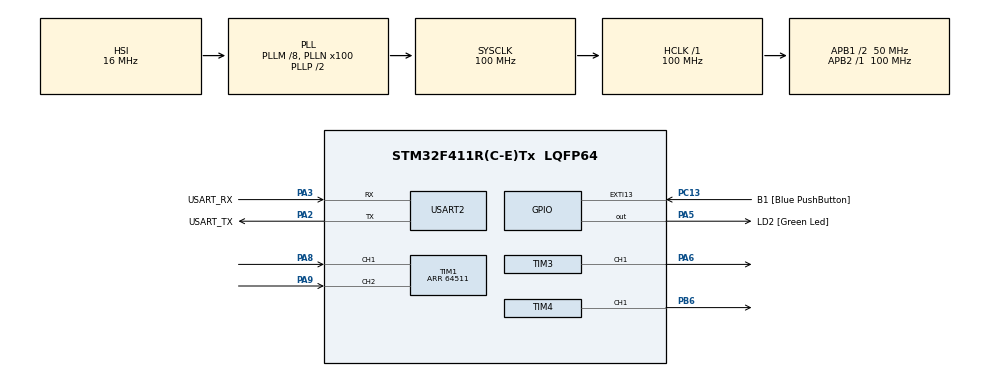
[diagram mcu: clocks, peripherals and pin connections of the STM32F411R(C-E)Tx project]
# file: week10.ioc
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Mcu.Family=STM32F4
Mcu.Name=STM32F411R(C-E)Tx
Mcu.Package=LQFP64
NVIC.PriorityGroup=NVIC_PRIORITYGROUP_0
PA13.GPIO_Label=TMS
PA13.Mode=Serial_Wire
PA13.Signal=SYS_JTMS-SWDIO
PA14.GPIO_Label=TCK
PA14.Mode=Serial_Wire
PA14.Signal=SYS_JTCK-SWCLK
PA2.GPIO_Label=USART_TX
PA2.Mode=Asynchronous
PA2.Signal=USART2_TX
PA3.GPIO_Label=USART_RX
PA3.Mode=Asynchronous
PA3.Signal=USART2_RX
PA5.GPIO_Label=LD2 [Green Led]
PA5.Signal=GPIO_Output
PA6.Signal=S_TIM3_CH1
PA8.Signal=S_TIM1_CH1
PA9.Signal=S_TIM1_CH2
PB3.GPIO_Label=SWO
PB3.Signal=SYS_JTDO-SWO
PB6.Signal=S_TIM4_CH1
PC13-ANTI_TAMP.GPIO_Label=B1 [Blue PushButton]
PC13-ANTI_TAMP.GPIO_ModeDefaultEXTI=GPIO_MODE_IT_FALLING
PC13-ANTI_TAMP.Signal=GPXTI13
PC14-OSC32_IN.Mode=LSE-External-Oscillator
PC14-OSC32_IN.Signal=RCC_OSC32_IN
PC15-OSC32_OUT.Mode=LSE-External-Oscillator
PC15-OSC32_OUT.Signal=RCC_OSC32_OUT
PH0\ -\ OSC_IN.Mode=HSE-External-Clock-Source
PH0\ -\ OSC_IN.Signal=RCC_OSC_IN
PH1\ -\ OSC_OUT.Mode=HSE-External-Clock-Source
PH1\ -\ OSC_OUT.Signal=RCC_OSC_OUT
ProjectManager.HeapSize=0x200
ProjectManager.StackSize=0x400
ProjectManager.TargetToolchain=STM32CubeIDE
RCC.48MHZClocksFreq_Value=50000000
RCC.AHBFreq_Value=100000000
RCC.APB1CLKDivider=RCC_HCLK_DIV2
RCC.APB1Freq_Value=50000000
RCC.APB1TimFreq_Value=100000000
RCC.APB2Freq_Value=100000000
RCC.APB2TimFreq_Value=100000000
RCC.CortexFreq_Value=100000000
RCC.FLatency-AdvancedSettings=FLASH_LATENCY_3
RCC.HCLKFreq_Value=100000000
RCC.HSE_VALUE=8000000
RCC.HSI_VALUE=16000000
RCC.PLLM=8
RCC.PLLN=100
RCC.SYSCLKFreq_VALUE=100000000
RCC.SYSCLKSource=RCC_SYSCLKSOURCE_PLLCLK
RCC.VCOOutputFreq_Value=200000000
SH.S_TIM1_CH1.0=TIM1_CH1,Encoder_Interface
SH.S_TIM1_CH2.0=TIM1_CH2,Encoder_Interface
SH.S_TIM3_CH1.0=TIM3_CH1,PWM Generation1 CH1
SH.S_TIM4_CH1.0=TIM4_CH1,PWM Generation1 CH1
TIM1.EncoderMode=TIM_ENCODERMODE_TI12
TIM1.Period=64511
TIM2.Prescaler=99
TIM3.Channel-PWM\ Generation1\ CH1=TIM_CHANNEL_1
TIM3.Period=10000
TIM4.Channel-PWM\ Generation1\ CH1=TIM_CHANNEL_1
TIM4.Period=10000
USART2.VirtualMode=VM_ASYNC
VP_TIM2_VS_ClockSourceINT.Mode=Internal
VP_TIM3_VS_ClockSourceINT.Mode=Internal
VP_TIM4_VS_ClockSourceINT.Mode=Internal
board=NUCLEO-F411RE

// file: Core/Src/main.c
/* USER CODE BEGIN Header */
/**
 ******************************************************************************
 * @file           : main.c
 * @brief          : Main program body
 ******************************************************************************
 * @attention
 *
 * <h2><center>&copy; Copyright (c) 2021 STMicroelectronics.
 * All rights reserved.</center></h2>
 *
 * This software component is licensed by ST under BSD 3-Clause license,
 * the "License"; You may not use this file except in compliance with the
 * License. You may obtain a copy of the License at:
 *                        opensource.org/licenses/BSD-3-Clause
 *
 ******************************************************************************
 */
/* USER CODE END Header */
#include "main.h"

TIM_HandleTypeDef htim1;
TIM_HandleTypeDef htim2;
TIM_HandleTypeDef htim3;
TIM_HandleTypeDef htim4;

UART_HandleTypeDef huart2;

/* USER CODE BEGIN PV */
float integrate=0;
float Differential=0;
float Error = 0;
float P_val;
float I_val;
float D_val;
float Kp =40;
float Ki=20;
float Kd=1;
int Setspd=15;
int speedSet;
float spdrec[2]={0};
float speed=0;
float speedS=0;
uint16_t PWMOut = 10000;
uint64_t _micros = 0;
float EncoderVel = 0;
uint64_t Timestamp_Encoder = 0;
/* USER CODE END PV */

void SystemClock_Config(void);
static void MX_GPIO_Init(void);
static void MX_USART2_UART_Init(void);
static void MX_TIM1_Init(void);
static void MX_TIM2_Init(void);
static void MX_TIM3_Init(void);
static void MX_TIM4_Init(void);
/* USER CODE BEGIN PFP */
uint64_t micros();
float EncoderVelocity_Update();
/* USER CODE END PFP */

int main(void)
{

  /* MCU Configuration--------------------------------------------------------*/

  /* Reset of all peripherals, Initializes the Flash interface and the Systick. */
  HAL_Init();

  /* Configure the system clock */
  SystemClock_Config();

  /* Initialize all configured peripherals */
  MX_GPIO_Init();
  MX_USART2_UART_Init();
  MX_TIM1_Init();
  MX_TIM2_Init();
  MX_TIM3_Init();
  MX_TIM4_Init();
  /* USER CODE BEGIN 2 */
	HAL_TIM_Base_Start_IT(&htim2);
	HAL_TIM_Encoder_Start(&htim1, TIM_CHANNEL_ALL);
	HAL_TIM_Base_Start(&htim3);
	HAL_TIM_PWM_Start(&htim3, TIM_CHANNEL_1);
	HAL_TIM_Base_Start(&htim4);
	HAL_TIM_PWM_Start(&htim4, TIM_CHANNEL_1);
  /* USER CODE END 2 */

  /* Infinite loop */
	while (1)
	{

    /* USER CODE BEGIN 3 */

		//RAW Read
		//if (micros() - Timestamp_Encoder >= 500000)
		//{
		//	Timestamp_Encoder = micros();
		//	EncoderVel = EncoderVelocity_Update();
		//}

		//Add LPF?
		if (micros() - Timestamp_Encoder >= 100)
		{
			Timestamp_Encoder = micros();
			if(speed<0){
				speedS=speed*(-1);
			}else{
				speedS=speed;
			}
			if(Setspd<0){
				speedSet=Setspd*(-1);
			}else{
				speedSet=Setspd;
			}
			Error = (speedSet-speedS)*768/15;
				  			P_val = Kp*Error;
				  			integrate += Error*0.0001;
				  			I_val = Ki*integrate;
				  			spdrec[1]=Error;
				  			Differential =(spdrec[1]-spdrec[0])/0.0001;
				  			D_val = Kd*Differential;
				  				if(speed != Setspd){
				  				PWMOut =P_val + I_val + D_val;
				  						  		}else{
				  						  			PWMOut=PWMOut;
				  						  		}
				  				if(PWMOut>10000){
				  					PWMOut=10000;
				  				}else{
				  					PWMOut=PWMOut;
				  				}
				  			if(Setspd>=0){
				  			__HAL_TIM_SET_COMPARE(&htim4, TIM_CHANNEL_1, PWMOut);
				  			__HAL_TIM_SET_COMPARE(&htim3, TIM_CHANNEL_1, 0);
				  			}else{
				  				__HAL_TIM_SET_COMPARE(&htim4, TIM_CHANNEL_1, 0);
				  				__HAL_TIM_SET_COMPARE(&htim3, TIM_CHANNEL_1, PWMOut);
				  			}
			EncoderVel = (EncoderVel * 499 + EncoderVelocity_Update()) / 500.0;
			speed = (EncoderVel*15)/768 ;
			 spdrec[0]=Error;
		}

	}
  /* USER CODE END 3 */
}

void SystemClock_Config(void)
{
  RCC_OscInitTypeDef RCC_OscInitStruct = {0};
  RCC_ClkInitTypeDef RCC_ClkInitStruct = {0};

  /** Configure the main internal regulator output voltage
  */
  __HAL_RCC_PWR_CLK_ENABLE();
  __HAL_PWR_VOLTAGESCALING_CONFIG(PWR_REGULATOR_VOLTAGE_SCALE1);
  /** Initializes the RCC Oscillators according to the specified parameters
  * in the RCC_OscInitTypeDef structure.
  */
  RCC_OscInitStruct.OscillatorType = RCC_OSCILLATORTYPE_HSI;
  RCC_OscInitStruct.HSIState = RCC_HSI_ON;
  RCC_OscInitStruct.HSICalibrationValue = RCC_HSICALIBRATION_DEFAULT;
  RCC_OscInitStruct.PLL.PLLState = RCC_PLL_ON;
  RCC_OscInitStruct.PLL.PLLSource = RCC_PLLSOURCE_HSI;
  RCC_OscInitStruct.PLL.PLLM = 8;
  RCC_OscInitStruct.PLL.PLLN = 100;
  RCC_OscInitStruct.PLL.PLLP = RCC_PLLP_DIV2;
  RCC_OscInitStruct.PLL.PLLQ = 4;
  if (HAL_RCC_OscConfig(&RCC_OscInitStruct) != HAL_OK)
  {
    Error_Handler();
  }
  /** Initializes the CPU, AHB and APB buses clocks
  */
  RCC_ClkInitStruct.ClockType = RCC_CLOCKTYPE_HCLK|RCC_CLOCKTYPE_SYSCLK
                              |RCC_CLOCKTYPE_PCLK1|RCC_CLOCKTYPE_PCLK2;
  RCC_ClkInitStruct.SYSCLKSource = RCC_SYSCLKSOURCE_PLLCLK;
  RCC_ClkInitStruct.AHBCLKDivider = RCC_SYSCLK_DIV1;
  RCC_ClkInitStruct.APB1CLKDivider = RCC_HCLK_DIV2;
  RCC_ClkInitStruct.APB2CLKDivider = RCC_HCLK_DIV1;

  if (HAL_RCC_ClockConfig(&RCC_ClkInitStruct, FLASH_LATENCY_3) != HAL_OK)
  {
    Error_Handler();
  }
}

static void MX_TIM1_Init(void)
{

  TIM_Encoder_InitTypeDef sConfig = {0};
  TIM_MasterConfigTypeDef sMasterConfig = {0};

  htim1.Instance = TIM1;
  htim1.Init.Prescaler = 0;
  htim1.Init.CounterMode = TIM_COUNTERMODE_UP;
  htim1.Init.Period = 64511;
  htim1.Init.ClockDivision = TIM_CLOCKDIVISION_DIV1;
  htim1.Init.RepetitionCounter = 0;
  htim1.Init.AutoReloadPreload = TIM_AUTORELOAD_PRELOAD_DISABLE;
  sConfig.EncoderMode = TIM_ENCODERMODE_TI12;
  sConfig.IC1Polarity = TIM_ICPOLARITY_RISING;
  sConfig.IC1Selection = TIM_ICSELECTION_DIRECTTI;
  sConfig.IC1Prescaler = TIM_ICPSC_DIV1;
  sConfig.IC1Filter = 0;
  sConfig.IC2Polarity = TIM_ICPOLARITY_RISING;
  sConfig.IC2Selection = TIM_ICSELECTION_DIRECTTI;
  sConfig.IC2Prescaler = TIM_ICPSC_DIV1;
  sConfig.IC2Filter = 0;
  if (HAL_TIM_Encoder_Init(&htim1, &sConfig) != HAL_OK)
  {
    Error_Handler();
  }
  sMasterConfig.MasterOutputTrigger = TIM_TRGO_RESET;
  sMasterConfig.MasterSlaveMode = TIM_MASTERSLAVEMODE_DISABLE;
  if (HAL_TIMEx_MasterConfigSynchronization(&htim1, &sMasterConfig) != HAL_OK)
  {
    Error_Handler();
  }

}

static void MX_TIM2_Init(void)
{

  TIM_ClockConfigTypeDef sClockSourceConfig = {0};
  TIM_MasterConfigTypeDef sMasterConfig = {0};

  htim2.Instance = TIM2;
  htim2.Init.Prescaler = 99;
  htim2.Init.CounterMode = TIM_COUNTERMODE_UP;
  htim2.Init.Period = 4294967295;
  htim2.Init.ClockDivision = TIM_CLOCKDIVISION_DIV1;
  htim2.Init.AutoReloadPreload = TIM_AUTORELOAD_PRELOAD_DISABLE;
  if (HAL_TIM_Base_Init(&htim2) != HAL_OK)
  {
    Error_Handler();
  }
  sClockSourceConfig.ClockSource = TIM_CLOCKSOURCE_INTERNAL;
  if (HAL_TIM_ConfigClockSource(&htim2, &sClockSourceConfig) != HAL_OK)
  {
    Error_Handler();
  }
  sMasterConfig.MasterOutputTrigger = TIM_TRGO_RESET;
  sMasterConfig.MasterSlaveMode = TIM_MASTERSLAVEMODE_DISABLE;
  if (HAL_TIMEx_MasterConfigSynchronization(&htim2, &sMasterConfig) != HAL_OK)
  {
    Error_Handler();
  }

}

static void MX_TIM3_Init(void)
{

  TIM_ClockConfigTypeDef sClockSourceConfig = {0};
  TIM_MasterConfigTypeDef sMasterConfig = {0};
  TIM_OC_InitTypeDef sConfigOC = {0};

  htim3.Instance = TIM3;
  htim3.Init.Prescaler = 0;
  htim3.Init.CounterMode = TIM_COUNTERMODE_UP;
  htim3.Init.Period = 10000;
  htim3.Init.ClockDivision = TIM_CLOCKDIVISION_DIV1;
  htim3.Init.AutoReloadPreload = TIM_AUTORELOAD_PRELOAD_DISABLE;
  if (HAL_TIM_Base_Init(&htim3) != HAL_OK)
  {
    Error_Handler();
  }
  sClockSourceConfig.ClockSource = TIM_CLOCKSOURCE_INTERNAL;
  if (HAL_TIM_ConfigClockSource(&htim3, &sClockSourceConfig) != HAL_OK)
  {
    Error_Handler();
  }
  if (HAL_TIM_PWM_Init(&htim3) != HAL_OK)
  {
    Error_Handler();
  }
  sMasterConfig.MasterOutputTrigger = TIM_TRGO_RESET;
  sMasterConfig.MasterSlaveMode = TIM_MASTERSLAVEMODE_DISABLE;
  if (HAL_TIMEx_MasterConfigSynchronization(&htim3, &sMasterConfig) != HAL_OK)
  {
    Error_Handler();
  }
  sConfigOC.OCMode = TIM_OCMODE_PWM1;
  sConfigOC.Pulse = 0;
  sConfigOC.OCPolarity = TIM_OCPOLARITY_HIGH;
  sConfigOC.OCFastMode = TIM_OCFAST_DISABLE;
  if (HAL_TIM_PWM_ConfigChannel(&htim3, &sConfigOC, TIM_CHANNEL_1) != HAL_OK)
  {
    Error_Handler();
  }
  HAL_TIM_MspPostInit(&htim3);

}

static void MX_TIM4_Init(void)
{

  TIM_ClockConfigTypeDef sClockSourceConfig = {0};
  TIM_MasterConfigTypeDef sMasterConfig = {0};
  TIM_OC_InitTypeDef sConfigOC = {0};

  htim4.Instance = TIM4;
  htim4.Init.Prescaler = 0;
  htim4.Init.CounterMode = TIM_COUNTERMODE_UP;
  htim4.Init.Period = 10000;
  htim4.Init.ClockDivision = TIM_CLOCKDIVISION_DIV1;
  htim4.Init.AutoReloadPreload = TIM_AUTORELOAD_PRELOAD_DISABLE;
  if (HAL_TIM_Base_Init(&htim4) != HAL_OK)
  {
    Error_Handler();
  }
  sClockSourceConfig.ClockSource = TIM_CLOCKSOURCE_INTERNAL;
  if (HAL_TIM_ConfigClockSource(&htim4, &sClockSourceConfig) != HAL_OK)
  {
    Error_Handler();
  }
  if (HAL_TIM_PWM_Init(&htim4) != HAL_OK)
  {
    Error_Handler();
  }
  sMasterConfig.MasterOutputTrigger = TIM_TRGO_RESET;
  sMasterConfig.MasterSlaveMode = TIM_MASTERSLAVEMODE_DISABLE;
  if (HAL_TIMEx_MasterConfigSynchronization(&htim4, &sMasterConfig) != HAL_OK)
  {
    Error_Handler();
  }
  sConfigOC.OCMode = TIM_OCMODE_PWM1;
  sConfigOC.Pulse = 0;
  sConfigOC.OCPolarity = TIM_OCPOLARITY_HIGH;
  sConfigOC.OCFastMode = TIM_OCFAST_DISABLE;
  if (HAL_TIM_PWM_ConfigChannel(&htim4, &sConfigOC, TIM_CHANNEL_1) != HAL_OK)
  {
    Error_Handler();
  }
  HAL_TIM_MspPostInit(&htim4);

}

static void MX_USART2_UART_Init(void)
{

  huart2.Instance = USART2;
  huart2.Init.BaudRate = 115200;
  huart2.Init.WordLength = UART_WORDLENGTH_8B;
  huart2.Init.StopBits = UART_STOPBITS_1;
  huart2.Init.Parity = UART_PARITY_NONE;
  huart2.Init.Mode = UART_MODE_TX_RX;
  huart2.Init.HwFlowCtl = UART_HWCONTROL_NONE;
  huart2.Init.OverSampling = UART_OVERSAMPLING_16;
  if (HAL_UART_Init(&huart2) != HAL_OK)
  {
    Error_Handler();
  }

}

static void MX_GPIO_Init(void)
{
  GPIO_InitTypeDef GPIO_InitStruct = {0};

  /* GPIO Ports Clock Enable */
  __HAL_RCC_GPIOC_CLK_ENABLE();
  __HAL_RCC_GPIOH_CLK_ENABLE();
  __HAL_RCC_GPIOA_CLK_ENABLE();
  __HAL_RCC_GPIOB_CLK_ENABLE();

  /*Configure GPIO pin Output Level */
  HAL_GPIO_WritePin(LD2_GPIO_Port, LD2_Pin, GPIO_PIN_RESET);

  /*Configure GPIO pin : B1_Pin */
  GPIO_InitStruct.Pin = B1_Pin;
  GPIO_InitStruct.Mode = GPIO_MODE_IT_FALLING;
  GPIO_InitStruct.Pull = GPIO_NOPULL;
  HAL_GPIO_Init(B1_GPIO_Port, &GPIO_InitStruct);

  /*Configure GPIO pin : LD2_Pin */
  GPIO_InitStruct.Pin = LD2_Pin;
  GPIO_InitStruct.Mode = GPIO_MODE_OUTPUT_PP;
  GPIO_InitStruct.Pull = GPIO_NOPULL;
  GPIO_InitStruct.Speed = GPIO_SPEED_FREQ_LOW;
  HAL_GPIO_Init(LD2_GPIO_Port, &GPIO_InitStruct);

}

/* USER CODE BEGIN 4 */
#define  HTIM_ENCODER htim1
#define  MAX_SUBPOSITION_OVERFLOW 1536
#define  MAX_ENCODER_PERIOD 64512

float EncoderVelocity_Update()
{
	//Save Last state
	static uint32_t EncoderLastPosition = 0;
	static uint64_t EncoderLastTimestamp = 0;

	//read data
	uint32_t EncoderNowPosition = HTIM_ENCODER.Instance->CNT;
	uint64_t EncoderNowTimestamp = micros();

	int32_t EncoderPositionDiff;
	uint64_t EncoderTimeDiff;

	EncoderTimeDiff = EncoderNowTimestamp - EncoderLastTimestamp;
	EncoderPositionDiff = EncoderNowPosition - EncoderLastPosition;

	//compensate overflow and underflow
	if (EncoderPositionDiff >= MAX_SUBPOSITION_OVERFLOW)
	{
		EncoderPositionDiff -= MAX_ENCODER_PERIOD;
	}
	else if (-EncoderPositionDiff >= MAX_SUBPOSITION_OVERFLOW)
	{
		EncoderPositionDiff += MAX_ENCODER_PERIOD;
	}

	//Update Position and time
	EncoderLastPosition = EncoderNowPosition;
	EncoderLastTimestamp = EncoderNowTimestamp;

	//Calculate velocity
	//EncoderTimeDiff is in uS
	return (EncoderPositionDiff * 1000000) / (float) EncoderTimeDiff;

}

void HAL_TIM_PeriodElapsedCallback(TIM_HandleTypeDef *htim)
{
	if (htim == &htim2)
	{
		_micros += 4294967295;
	}
}
uint64_t micros()
{
	return _micros + htim2.Instance->CNT;
}
/* USER CODE END 4 */

void Error_Handler(void)
{
	__disable_irq();
	while (1)
	{
	}
}

/************************ (C) COPYRIGHT STMicroelectronics *****END OF FILE****/
